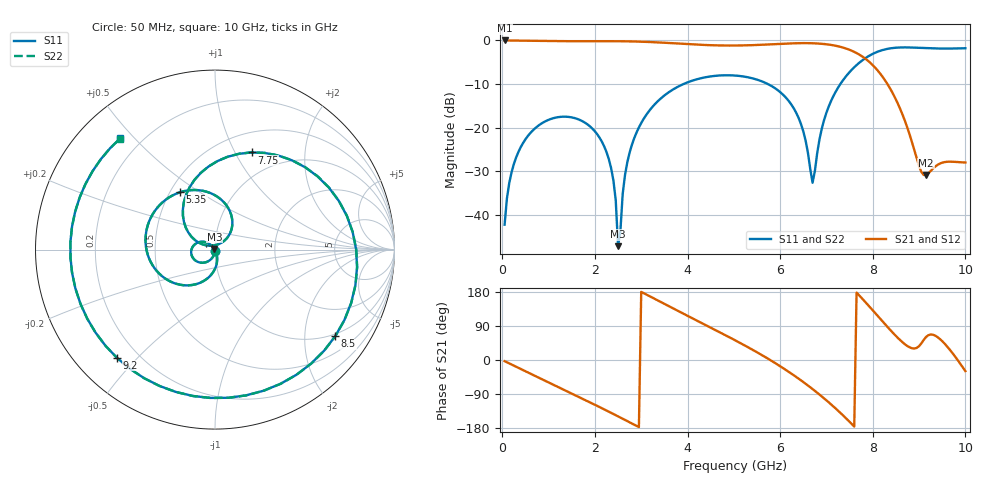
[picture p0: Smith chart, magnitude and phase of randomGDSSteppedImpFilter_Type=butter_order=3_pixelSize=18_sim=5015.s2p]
! freq	dB(S11)	phase(S11)	dB(S12)	phase(S12)
!  dB(S21)	phase(S21)	dB(S22)	phase(S22)
!S-par simulation data
#  GHz  S  DB  R 50
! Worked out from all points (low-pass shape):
!   200 points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, 50 MHz to 10 GHz, reference 50 ohm
!   highest |S21| = -0.01 dB at 50 MHz (marker M1); lowest = -30.8 dB at 9.15 GHz (marker M2)
!   |S21| within 3 dB of the highest: start of sweep to 7.67 GHz
!   lowest |S11| = -47.1 dB at 2.5 GHz (marker M3), VSWR 1.01, Z = 49.7 + j0.317 ohm
!   |S11| at or under -10 dB: start of sweep to 3.909 GHz; 5.738 GHz to 7.299 GHz (1.561 GHz wide, 23.9 % of centre)
!   |S22| runs from -46.8 to -1.6 dB; largest |S21 - S12| = 0
!   S11 on the Smith chart (normalised r, x): 50 MHz: 1.00, -0.02; 5.35 GHz: 0.56, +0.42; 7.75 GHz: 0.72, +1.17; 8.5 GHz: 0.93, -2.82; 9.2 GHz: 0.12, -0.44; 10 GHz: 0.12, +0.46
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0.05  -42.17 -92.3  -0.01 -3.0  -0.01 -3.0  -42.17 -92.3
0.2  -30.19 -101.7  -0.03 -12.0  -0.03 -12.0  -30.19 -101.7
0.55  -21.90 -122.7  -0.07 -32.7  -0.07 -32.7  -21.90 -122.7
1.75  -18.60 166.3  -0.18 -103.1  -0.18 -103.1  -18.60 166.4
2.3  -27.15 134.0  -0.17 -136.4  -0.17 -136.4  -27.15 134.5
2.45  -36.61 127.5  -0.18 -145.6  -0.18 -145.6  -36.59 129.2
2.5  -47.09 133.9  -0.18 -148.7  -0.18 -148.7  -46.83 139.5
2.75  -25.64 -76.4  -0.22 -164.4  -0.22 -164.4  -25.64 -76.9
3.4  -13.50 -116.5  -0.47 154.4  -0.47 154.4  -13.49 -116.6
4.2  -8.90 -166.1  -0.96 104.2  -0.96 104.2  -8.90 -166.2
5.05  -8.06 141.0  -1.16 50.6  -1.16 50.6  -8.06 140.9
5.35  -8.54 121.4  -1.10 30.7  -1.10 30.7  -8.54 121.3
6.3  -15.65 54.4  -0.66 -40.8  -0.66 -40.8  -15.65 54.4
6.7  -32.57 96.6  -0.65 -76.6  -0.65 -76.6  -32.56 96.5
7.05  -15.08 147.4  -0.95 -111.8  -0.95 -111.8  -15.09 147.4
7.75  -4.75 69.3  -3.51 164.9  -3.51 164.9  -4.75 69.4
8.35  -1.86 -14.3  -10.56 82.9  -10.56 82.9  -1.86 -14.1
8.5  -1.67 -35.8  -13.53 63.4  -13.53 63.4  -1.66 -35.5
9.15  -1.77 -125.6  -30.82 60.6  -30.82 60.6  -1.77 -125.3
9.2  -1.79 -132.3  -30.43 65.5  -30.43 65.5  -1.79 -131.9
9.6  -1.87 176.8  -27.78 36.5  -27.78 36.5  -1.87 177.1
10  -1.78 130.4  -27.93 -29.3  -27.93 -29.3  -1.79 130.7
